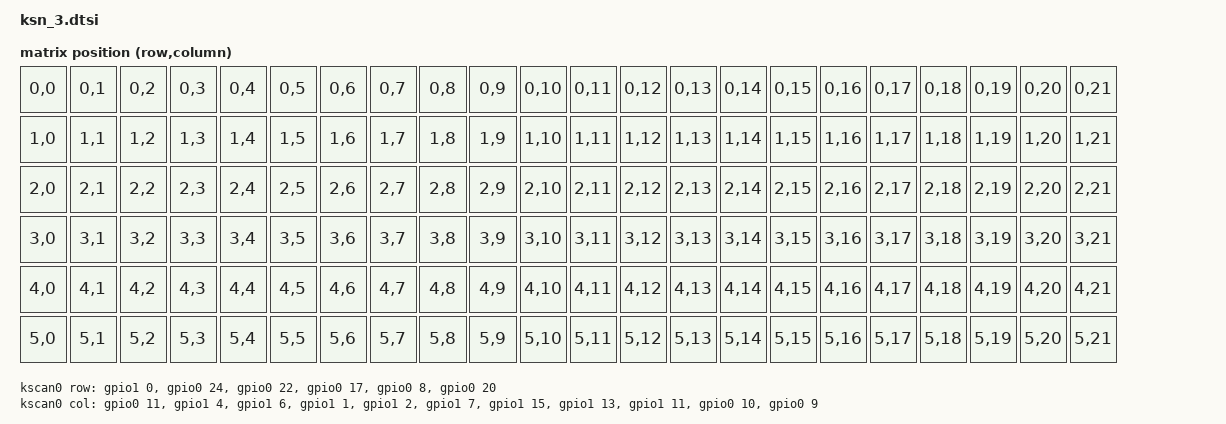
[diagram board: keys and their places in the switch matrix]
#include <dt-bindings/zmk/matrix_transform.h>

/ {
    chosen {
        zmk,kscan            = &kscan0;
        zmk,matrix_transform = &default_transform;
        zmk,backlight        = &backlight;
        /* zmk,battery 는 nice!nano v2 보드 기본값(zmk,battery-nrf-vddh, 내장 VDDH 센싱)을
           그대로 사용 - KSN-1/KSN-2에서 이미 겪은 외부 분배저항 부정확 문제(528mV/0%
           같은 값)를 피하기 위해 커스텀 vbatt 노드는 처음부터 추가하지 않음. */
    };

    default_transform: matrix_transform {
        compatible = "zmk,matrix-transform";
        columns = <22>;
        rows    = <6>;
        map = <
RC(0,0)  RC(0,1)  RC(0,2)  RC(0,3)  RC(0,4)  RC(0,5)  RC(0,6)  RC(0,7)  RC(0,8)  RC(0,9)  RC(0,10)   RC(0,11) RC(0,12) RC(0,13) RC(0,14) RC(0,15) RC(0,16) RC(0,17) RC(0,18) RC(0,19) RC(0,20) RC(0,21)
RC(1,0)  RC(1,1)  RC(1,2)  RC(1,3)  RC(1,4)  RC(1,5)  RC(1,6)  RC(1,7)  RC(1,8)  RC(1,9)  RC(1,10)   RC(1,11) RC(1,12) RC(1,13) RC(1,14) RC(1,15) RC(1,16) RC(1,17) RC(1,18) RC(1,19) RC(1,20) RC(1,21)
RC(2,0)  RC(2,1)  RC(2,2)  RC(2,3)  RC(2,4)  RC(2,5)  RC(2,6)  RC(2,7)  RC(2,8)  RC(2,9)  RC(2,10)   RC(2,11) RC(2,12) RC(2,13) RC(2,14) RC(2,15) RC(2,16) RC(2,17) RC(2,18) RC(2,19) RC(2,20) RC(2,21)
RC(3,0)  RC(3,1)  RC(3,2)  RC(3,3)  RC(3,4)  RC(3,5)  RC(3,6)  RC(3,7)  RC(3,8)  RC(3,9)  RC(3,10)   RC(3,11) RC(3,12) RC(3,13) RC(3,14) RC(3,15) RC(3,16) RC(3,17) RC(3,18) RC(3,19) RC(3,20) RC(3,21)
RC(4,0)  RC(4,1)  RC(4,2)  RC(4,3)  RC(4,4)  RC(4,5)  RC(4,6)  RC(4,7)  RC(4,8)  RC(4,9)  RC(4,10)   RC(4,11) RC(4,12) RC(4,13) RC(4,14) RC(4,15) RC(4,16) RC(4,17) RC(4,18) RC(4,19) RC(4,20) RC(4,21)
RC(5,0)  RC(5,1)  RC(5,2)  RC(5,3)  RC(5,4)  RC(5,5)  RC(5,6)  RC(5,7)  RC(5,8)  RC(5,9)  RC(5,10)   RC(5,11) RC(5,12) RC(5,13) RC(5,14) RC(5,15) RC(5,16) RC(5,17) RC(5,18) RC(5,19) RC(5,20) RC(5,21)
        >;
    };

    /* 매트릭스: 6행 x 22열 (11열/half), col2row.
       row/col GPIO는 스키매틱(SCH_KSN3L/R json)에서 넷라벨-핀 좌표 매칭으로
       직접 추출 - 양쪽 half가 동일한 핀을 사용 (KSN-1/2와 동일 패턴).
       row=입력이라 PULL_DOWN 필요 (KSN-2에서 겪은 row/col 풀 반전 유령입력
       버그 재발 방지 차원에서 row에만 명시적으로 PULL_DOWN 부여). */
    kscan0: kscan {
        compatible      = "zmk,kscan-gpio-matrix";
        wakeup-source;
        diode-direction = "col2row";

        row-gpios
            = <&gpio1 0  (GPIO_ACTIVE_HIGH | GPIO_PULL_DOWN)>   /* row1 = P1.00 */
            , <&gpio0 24 (GPIO_ACTIVE_HIGH | GPIO_PULL_DOWN)>   /* row2 = P0.24 */
            , <&gpio0 22 (GPIO_ACTIVE_HIGH | GPIO_PULL_DOWN)>   /* row3 = P0.22 */
            , <&gpio0 17 (GPIO_ACTIVE_HIGH | GPIO_PULL_DOWN)>   /* row4 = P0.17 */
            , <&gpio0 8  (GPIO_ACTIVE_HIGH | GPIO_PULL_DOWN)>   /* row5 = P0.08 */
            , <&gpio0 20 (GPIO_ACTIVE_HIGH | GPIO_PULL_DOWN)>   /* row6 = P0.20 */
            ;

        col-gpios
            = <&gpio0 11 GPIO_ACTIVE_HIGH>   /* col1  = P0.11 */
            , <&gpio1 4  GPIO_ACTIVE_HIGH>   /* col2  = P1.04 */
            , <&gpio1 6  GPIO_ACTIVE_HIGH>   /* col3  = P1.06 */
            , <&gpio1 1  GPIO_ACTIVE_HIGH>   /* col4  = P1.01 */
            , <&gpio1 2  GPIO_ACTIVE_HIGH>   /* col5  = P1.02 */
            , <&gpio1 7  GPIO_ACTIVE_HIGH>   /* col6  = P1.07 */
            , <&gpio1 15 GPIO_ACTIVE_HIGH>   /* col7  = P1.15 */
            , <&gpio1 13 GPIO_ACTIVE_HIGH>   /* col8  = P1.13 */
            , <&gpio1 11 GPIO_ACTIVE_HIGH>   /* col9  = P1.11 */
            , <&gpio0 10 GPIO_ACTIVE_HIGH>   /* col10 = P0.10 */
            , <&gpio0 9  GPIO_ACTIVE_HIGH>   /* col11 = P0.09 */
            ;
    };
};
